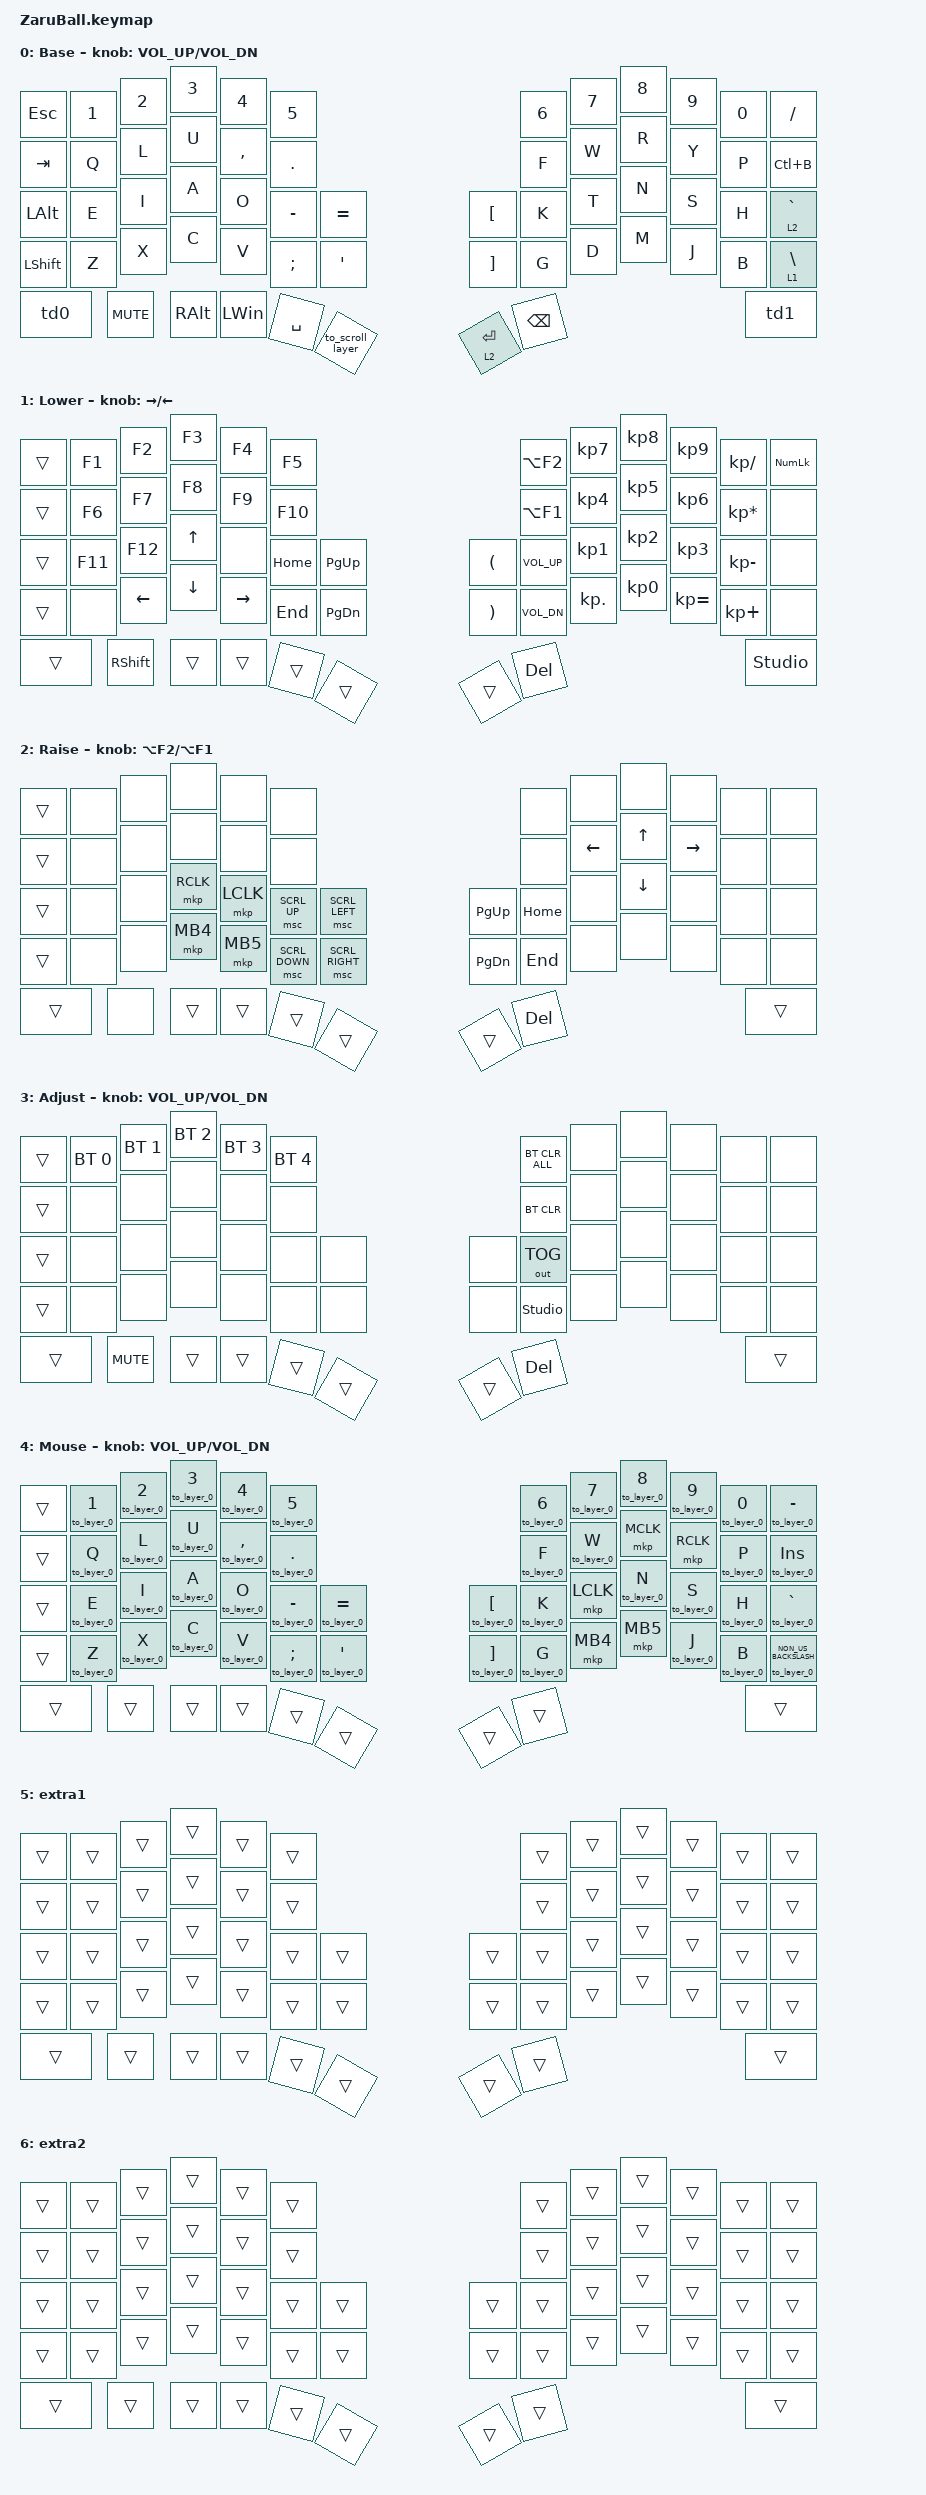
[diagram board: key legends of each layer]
//#include <dt-bindings/zmk/mouse.h>

#include <behaviors/rgbled_widget.dtsi>
#include <behaviors.dtsi>
#include <dt-bindings/zmk/bt.h>
#include <dt-bindings/zmk/keys.h>
#include <dt-bindings/zmk/outputs.h>
#include <dt-bindings/zmk/pointing.h>

#define BASE 0
#define LOWER 1
#define RAISE 2
#define ADJUST 3
#define MOUSE 4
#define SCROLL 1

/ {
    conditional_layers {
        compatible = "zmk,conditional-layers";

        tri_layer {
            if-layers = <1 2>;
            then-layer = <3>;
        };
    };
};

/ {
    behaviors {
        td0: tap_dance_0 {
            compatible = "zmk,behavior-tap-dance";
            #binding-cells = <0>;
            tapping-term-ms = <400>;
            bindings = <&mt LEFT_CONTROL LANG2>, <&mo 2>, <&mo 4>;
        };

        td1: tap_dance_1 {
            compatible = "zmk,behavior-tap-dance";
            #binding-cells = <0>;
            tapping-term-ms = <400>;
            bindings = <&mt RIGHT_CONTROL LANG1>, <&mo 2>, <&mo 0>;
        };
    };
};

&sl { release-after-ms = <250>; }; // time needed for double click (for mkp_exit_AML)
/ {
    macros {
        // When in AML, move to default layer when key (except mouse button) pressed

        to_layer_0: to_layer_0 {
            compatible = "zmk,behavior-macro-one-param";
            #binding-cells = <1>;
            bindings = <&to 0 &macro_param_1to1 &kp MACRO_PLACEHOLDER>;
            label = "TO_layer_0";
        };

        // When LCLK pressed, exit AML (after 250ms cause by sticky layer)

        mkp_exit_AML: mkp_exit_AML {
            compatible = "zmk,behavior-macro-one-param";
            #binding-cells = <1>;
            bindings =
                <&macro_press>,
                <&macro_param_1to1 &mkp MACRO_PLACEHOLDER>,
                <&macro_pause_for_release>,
                <&macro_release>,
                <&macro_param_1to1 &mkp MACRO_PLACEHOLDER>,
                <&macro_tap>,
                <&sl 4>;

            label = "MKP_EXIT_AML";
        };

        // Support swapping into Scroll layer when AML is activated

        to_scroll_layer: to_scroll_layer {
            compatible = "zmk,behavior-macro";
            #binding-cells = <0>;
            bindings =
                <&macro_press>,
                <&mo 1>,
                <&macro_pause_for_release>,
                <&macro_release>,
                <&mo 1>;
        };
    };
};

/ {
    keymap {
        compatible = "zmk,keymap";

        base_layer {
            display-name = "Base";
            sensor-bindings = <&inc_dec_kp C_VOL_UP C_VOL_DN>;
            bindings = <
&kp ESC       &kp N1  &kp N2      &kp N3        &kp N4        &kp N5                           &kp NUMBER_6  &kp N7    &kp N8  &kp N9  &kp N0  &kp SLASH
&kp TAB       &kp Q   &kp L       &kp U         &kp COMMA     &kp PERIOD                       &kp F         &kp W     &kp R   &kp Y   &kp P   &kp LC(B)
&kp LEFT_ALT  &kp E   &kp I       &kp A         &kp O         &kp MINUS      &kp EQUAL         &kp LBKT      &kp K     &kp T   &kp N   &kp S   &kp H      &lt 2 GRAVE
&kp LSHFT     &kp Z   &kp X       &kp C         &kp V         &kp SEMICOLON  &kp SQT           &kp RBKT      &kp G     &kp D   &kp M   &kp J   &kp B      &lt 1 BACKSLASH
&td0                  &kp C_MUTE  &kp RIGHT_ALT &kp LEFT_WIN  &kp SPACE      &to_scroll_layer  &lt 2 RET     &kp BSPC                          &td1
            >;
        };

        lower_layer {
            display-name = "Lower";
            sensor-bindings = <&inc_dec_kp RIGHT LEFT>;
            bindings = <
&trans  &kp F1   &kp F2     &kp F3    &kp F4     &kp F5               &kp LA(F2)  &kp KP_N7     &kp KP_N8   &kp KP_N9  &kp KP_SLASH     &kp KP_NUMLOCK
&trans  &kp F6   &kp F7     &kp F8    &kp F9     &kp F10              &kp LA(F1)  &kp KP_N4     &kp KP_N5   &kp KP_N6  &kp KP_MULTIPLY  &none
&trans  &kp F11  &kp F12    &kp UP    &none      &kp HOME  &kp PG_UP  &kp LPAR    &kp C_VOL_UP  &kp KP_N1   &kp KP_N2  &kp KP_N3        &kp KP_MINUS    &none
&trans  &none    &kp LEFT   &kp DOWN  &kp RIGHT  &kp END   &kp PG_DN  &kp RPAR    &kp C_VOL_DN  &kp KP_DOT  &kp KP_N0  &kp KP_EQUAL     &kp KP_PLUS     &none
&trans           &kp RSHFT  &trans    &trans     &trans    &trans     &trans      &kp DEL                                               &studio_unlock
            >;
        };

        raise_layer {
            display-name = "Raise";
            sensor-bindings = <&inc_dec_kp LA(F2) LA(F1)>;
            bindings = <
&trans  &none  &none  &none      &none      &none                            &none      &none           &none         &none            &none  &none
&trans  &none  &none  &none      &none      &none                            &none      &kp LEFT_ARROW  &kp UP_ARROW  &kp RIGHT_ARROW  &none  &none
&trans  &none  &none  &mkp RCLK  &mkp LCLK  &msc SCRL_UP    &msc SCRL_LEFT   &kp PG_UP  &kp HOME        &none         &kp DOWN_ARROW   &none  &none   &none
&trans  &none  &none  &mkp MB4   &mkp MB5   &msc SCRL_DOWN  &msc SCRL_RIGHT  &kp PG_DN  &kp END         &none         &none            &none  &none   &none
&trans         &none  &trans     &trans     &trans          &trans           &trans     &kp DEL                                               &trans
            >;
        };

        adjust_layer {
            display-name = "Adjust";
            sensor-bindings = <&inc_dec_kp C_VOL_UP C_VOL_DN>;
            bindings = <
&trans  &bt BT_SEL 0  &bt BT_SEL 1  &bt BT_SEL 2  &bt BT_SEL 3  &bt BT_SEL 4          &bt BT_CLR_ALL  &none           &none  &none  &none  &none
&trans  &none         &none         &none         &none         &none                 &bt BT_CLR      &none           &none  &none  &none  &none
&trans  &none         &none         &none         &none         &none         &none   &none           &out OUT_TOG    &none  &none  &none  &none   &none
&trans  &none         &none         &none         &none         &none         &none   &none           &studio_unlock  &none  &none  &none  &none   &none
&trans                &kp C_MUTE    &trans        &trans        &trans        &trans  &trans          &kp DEL                              &trans
            >;
        };

        mouse_layer {
            display-name = "Mouse";
            sensor-bindings = <&inc_dec_kp C_VOL_UP C_VOL_DN>;
            bindings = <
&trans  &to_layer_0 N1  &to_layer_0 N2  &to_layer_0 N3  &to_layer_0 N4     &to_layer_0 N5                         &to_layer_0 N6    &to_layer_0 N7  &to_layer_0 N8  &to_layer_0 N9  &to_layer_0 N0  &to_layer_0 MINUS
&trans  &to_layer_0 Q   &to_layer_0 L   &to_layer_0 U   &to_layer_0 COMMA  &to_layer_0 PERIOD                     &to_layer_0 F     &to_layer_0 W   &mkp MCLK       &mkp RCLK       &to_layer_0 P   &to_layer_0 INS
&trans  &to_layer_0 E   &to_layer_0 I   &to_layer_0 A   &to_layer_0 O      &to_layer_0 MINUS   &to_layer_0 EQUAL  &to_layer_0 LBKT  &to_layer_0 K   &mkp LCLK       &to_layer_0 N   &to_layer_0 S   &to_layer_0 H      &to_layer_0 GRAVE
&trans  &to_layer_0 Z   &to_layer_0 X   &to_layer_0 C   &to_layer_0 V      &to_layer_0 SEMI    &to_layer_0 SQT    &to_layer_0 RBKT  &to_layer_0 G   &mkp MB4        &mkp MB5        &to_layer_0 J   &to_layer_0 B      &to_layer_0 NON_US_BACKSLASH
&trans                  &trans          &trans          &trans             &trans              &trans             &trans            &trans                                                          &trans
            >;
        };

        // Extra layer can be added in ZMK STUDIO

        extra1 {
            bindings = <
&trans  &trans  &trans  &trans  &trans  &trans          &trans  &trans  &trans  &trans  &trans  &trans
&trans  &trans  &trans  &trans  &trans  &trans          &trans  &trans  &trans  &trans  &trans  &trans
&trans  &trans  &trans  &trans  &trans  &trans  &trans  &trans  &trans  &trans  &trans  &trans  &trans  &trans
&trans  &trans  &trans  &trans  &trans  &trans  &trans  &trans  &trans  &trans  &trans  &trans  &trans  &trans
&trans          &trans  &trans  &trans  &trans  &trans  &trans  &trans                          &trans
            >;
        };

        extra2 {
            bindings = <
&trans  &trans  &trans  &trans  &trans  &trans          &trans  &trans  &trans  &trans  &trans  &trans
&trans  &trans  &trans  &trans  &trans  &trans          &trans  &trans  &trans  &trans  &trans  &trans
&trans  &trans  &trans  &trans  &trans  &trans  &trans  &trans  &trans  &trans  &trans  &trans  &trans  &trans
&trans  &trans  &trans  &trans  &trans  &trans  &trans  &trans  &trans  &trans  &trans  &trans  &trans  &trans
&trans          &trans  &trans  &trans  &trans  &trans  &trans  &trans                          &trans
            >;
        };
    };
};
